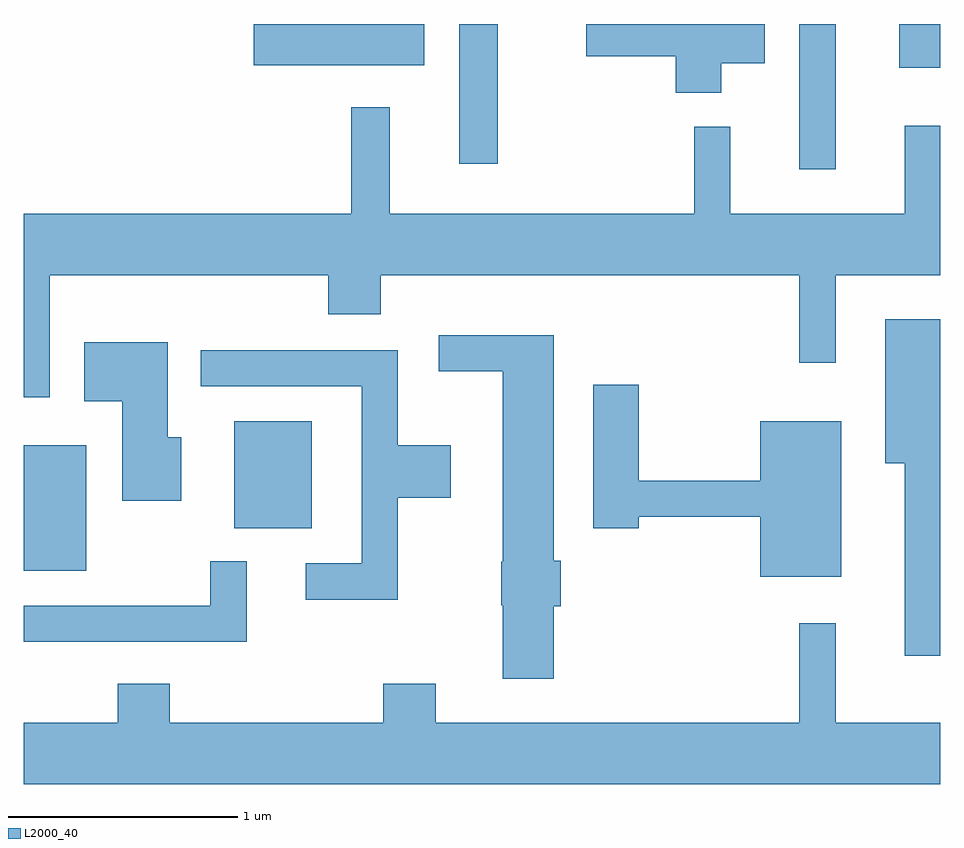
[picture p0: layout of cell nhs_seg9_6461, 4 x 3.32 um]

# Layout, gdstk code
import gdstk
lib = gdstk.Library(unit=1e-6, precision=1e-09)
def R(c, l, rs):  # rectangles x0, y0, x1, y1
    for r in rs: c.add(gdstk.rectangle(r[:2], r[2:], *l))
def P(c, l, *ps):  # polygons
    for p in ps: c.add(gdstk.Polygon(p, *l))
L2000_40 = (2000, 40)

nhs_seg9_6461 = lib.new_cell('nhs_seg9_6461')
R(nhs_seg9_6461, L2000_40, [(375.611,2026.046,375.884,2026.594), (376.531,2026.231,376.869,2026.699), (378.996,2027.798,379.154,2028.432), (377.511,2027.823,377.679,2028.432), (379.431,2028.241,379.611,2028.432), (376.616,2028.251,377.359,2028.432)])
P(nhs_seg9_6461, L2000_40, [(378.654,2028.261),(378.844,2028.261),(378.844,2028.432),(378.066,2028.432),(378.066,2028.291),(378.456,2028.291),(378.456,2028.131),(378.654,2028.131)],
  [(378.694,2027.983),(378.536,2027.983),(378.536,2027.604),(377.209,2027.604),(377.209,2028.068),(377.041,2028.068),(377.041,2027.604),(375.611,2027.604),(375.611,2026.803),(375.724,2026.803),(375.724,2027.336),(376.941,2027.336),(376.941,2027.166),(377.169,2027.166),(377.169,2027.336),(378.996,2027.336),(378.996,2026.953),(379.154,2026.953),(379.154,2027.336),(379.611,2027.336),(379.611,2027.988),(379.456,2027.988),(379.456,2027.604),(378.694,2027.604)],
  [(379.611,2027.144),(379.371,2027.144),(379.371,2026.516),(379.456,2026.516),(379.456,2025.676),(379.611,2025.676)],
  [(377.924,2025.891),(377.954,2025.891),(377.954,2026.089),(377.924,2026.089),(377.924,2027.074),(377.423,2027.074),(377.423,2026.916),(377.701,2026.916),(377.701,2026.085),(377.696,2026.085),(377.696,2025.895),(377.701,2025.895),(377.701,2025.576),(377.924,2025.576)],
  [(376.299,2026.629),(376.239,2026.629),(376.239,2027.044),(375.876,2027.044),(375.876,2026.786),(376.041,2026.786),(376.041,2026.351),(376.299,2026.351)],
  [(377.244,2026.366),(377.474,2026.366),(377.474,2026.594),(377.244,2026.594),(377.244,2027.009),(376.383,2027.009),(376.383,2026.851),(377.086,2026.851),(377.086,2026.079),(376.843,2026.079),(376.843,2025.921),(377.244,2025.921)],
  [(379.179,2026.699),(378.826,2026.699),(378.826,2026.439),(378.294,2026.439),(378.294,2026.859),(378.096,2026.859),(378.096,2026.231),(378.294,2026.231),(378.294,2026.281),(378.826,2026.281),(378.826,2026.021),(379.179,2026.021)],
  [(376.584,2026.088),(376.426,2026.088),(376.426,2025.894),(375.611,2025.894),(375.611,2025.736),(376.584,2025.736)],
  [(379.611,2025.384),(379.154,2025.384),(379.154,2025.818),(378.996,2025.818),(378.996,2025.384),(377.409,2025.384),(377.409,2025.554),(377.181,2025.554),(377.181,2025.384),(376.249,2025.384),(376.249,2025.554),(376.021,2025.554),(376.021,2025.384),(375.611,2025.384),(375.611,2025.116),(379.611,2025.116)])

lib.write_gds('nhs_seg9_6461.gds')
